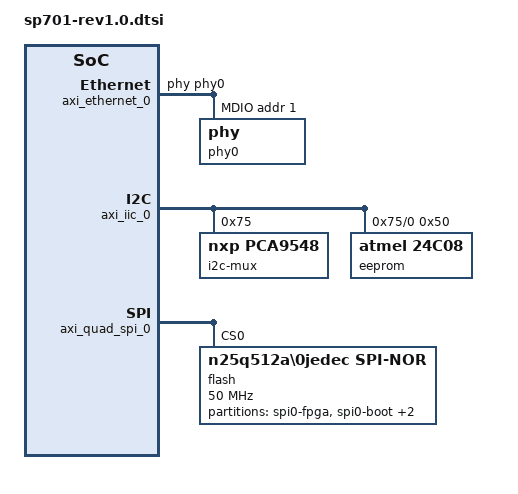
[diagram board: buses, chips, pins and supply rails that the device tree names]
/ {
       chosen {
               bootargs = "console=ttyUL0,115200 earlycon root=/dev/ram0 rw";
        };

};

&axi_ethernet_0 {
	phy-handle = <&phy0>;
	/delete-node/ mdio;
	axi_ethernet_mdio: mdio {
		#address-cells = <1>;
		#size-cells = <0>;
		phy0: phy@1 {
			device_type = "ethernet-phy";
			reg = <1>;
			ti,rx-internal-delay = <0x3>;
			ti,tx-internal-delay = <0x3>;
			ti,fifo-depth = <0x1>;
		};
	};
};

&axi_iic_0 {
	#address-cells = <1>;
	#size-cells = <0>;
	i2c-mux@75 {
		compatible = "nxp,pca9548";
		#address-cells = <1>;
		#size-cells = <0>;
		reg = <0x75>;
		i2c@0 {
			#address-cells = <1>;
			#size-cells = <0>;
			reg = <0>;
			eeprom@50 {
				compatible = "atmel,24c08";
				reg = <0x50>;
			};
		};
	};
};


&axi_quad_spi_0 {
       #address-cells = <1>;
       #size-cells = <0>;

       flash@0 {
               compatible = "n25q512a\0jedec,spi-nor";
               reg = <0>;
               #address-cells = <1>;
               #size-cells = <1>;
               spi-tx-bus-width = <0x04>;
               spi-rx-bus-width = <0x04>;
               spi-max-frequency = <0x2faf080>;
               phandle = <0x0e>;

               partition@0 {
                       label = "spi0-fpga";
                       reg = <0x00 0xa00000>;
               };

               partition@1 {
                       label = "spi0-boot";
                       reg = <0xa00000 0x180000>;
               };

               partition@2 {
                       label = "spi0-bootenv";
                       reg = <0xb80000 0x480000>;
               };

               partition@3 {
                       label = "spi0-kernel";
                       reg = <0x1000000 0xe00000>;
               };
       };
};
